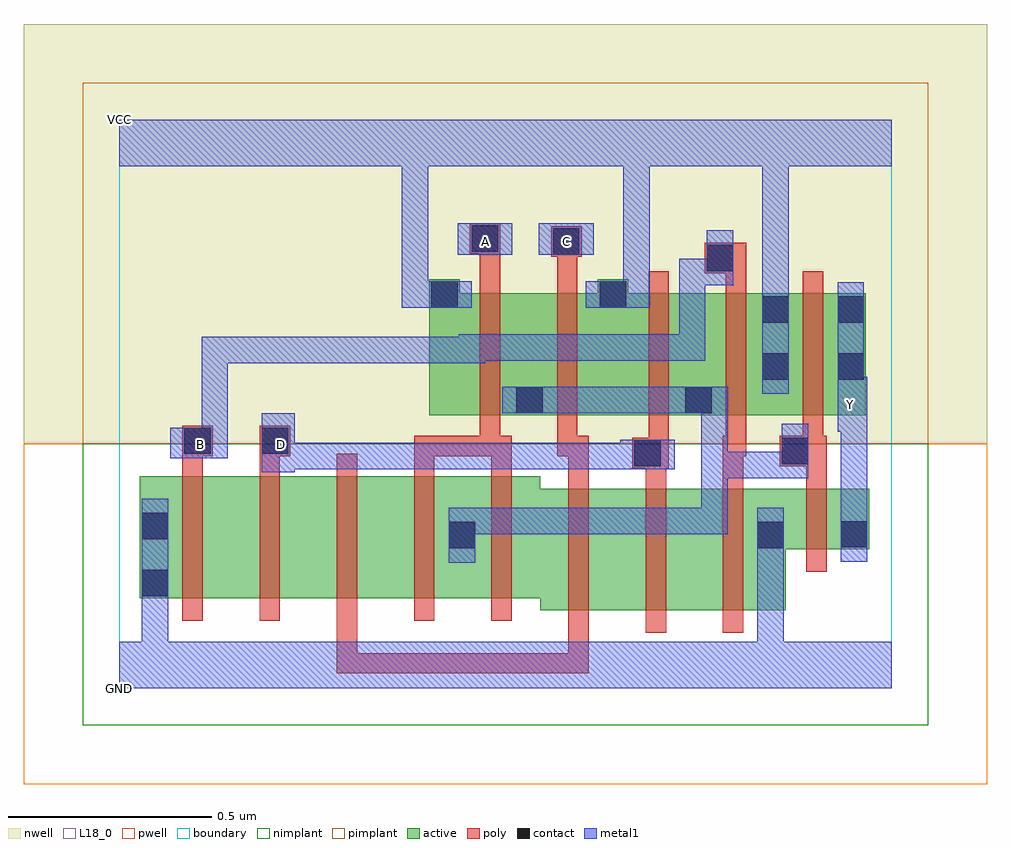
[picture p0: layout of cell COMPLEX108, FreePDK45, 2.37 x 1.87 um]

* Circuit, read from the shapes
.subckt COMPLEX108 A B C D GND VCC Y
M1 n1 B GND VSUBS nfet w=0.3u l=0.05u
M2 n2 D n1 VSUBS nfet w=0.3u l=0.05u
M3 n3 C n2 VSUBS nfet w=0.3u l=0.05u
M4 n4 A n3 VSUBS nfet w=0.3u l=0.05u
M5 n5 A n4 VSUBS nfet w=0.3u l=0.05u
M6 n6 C n5 VSUBS nfet w=0.3u l=0.05u
M7 n7 D n6 VSUBS nfet w=0.3u l=0.05u
M8 GND B n7 VSUBS nfet w=0.3u l=0.05u
M9 Y n4 GND VSUBS nfet w=0.15u l=0.05u
M10 n4 A VCC n8 pfet w=0.3u l=0.05u
M11 VCC C n4 n8 pfet w=0.3u l=0.05u
M12 n4 D VCC n8 pfet w=0.3u l=0.05u
M13 VCC B n4 n8 pfet w=0.3u l=0.05u
M14 Y n4 VCC n8 pfet w=0.3u l=0.05u
.ends

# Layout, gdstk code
import gdstk
lib = gdstk.Library(unit=1e-6, precision=1e-09)
def R(c, l, rs):  # rectangles x0, y0, x1, y1
    for r in rs: c.add(gdstk.rectangle(r[:2], r[2:], *l))
def A(c, l, x, y, w, h, nx, ny, dx, dy):  # array of equal rectangles
    R(c, l, [(x+i*dx, y+j*dy, x+i*dx+w, y+j*dy+h) for i in range(nx) for j in range(ny)])
active = (1, 0)
pwell = (2, 0)
nwell = (3, 0)
nimplant = (4, 0)
pimplant = (5, 0)
poly = (9, 0)
contact = (10, 0)
metal1 = (11, 0)
L18_0 = (18, 0)
boundary = (235, 0)

complex108 = lib.new_cell('COMPLEX108')
R(complex108, active, [(1.035,0.192,1.225,0.492), (1.225,0.192,1.415,0.492), (1.415,0.192,1.64,0.492), (1.565,0.192,1.64,0.492), (0.05,0.222,0.125,0.522), (0.05,0.222,0.275,0.522), (0.275,0.222,0.465,0.522), (0.465,0.222,0.655,0.522), (0.655,0.222,0.88,0.522), (0.805,0.222,1.035,0.522), (0.805,0.247,0.88,0.517), (1.565,0.342,1.845,0.492), (1.77,0.342,1.845,0.492), (0.762,0.672,1.047,0.972), (0.762,0.672,0.837,1.007), (0.972,0.672,1.252,0.972), (0.972,0.672,1.047,0.877), (1.177,0.672,1.462,0.972), (1.387,0.672,1.652,0.972), (1.387,0.672,1.462,0.957), (1.577,0.672,1.837,0.972), (1.762,0.672,1.837,0.972), (1.577,0.755,1.652,0.972), (1.177,0.832,1.252,1.007)])
R(complex108, pwell, [(-0.235,-0.235,2.135,0.602)])
R(complex108, nwell, [(-0.235,0.602,2.135,1.635)])
R(complex108, nimplant, [(-0.09,-0.09,1.99,0.602)])
R(complex108, pimplant, [(-0.09,0.602,1.99,1.49)])
A(complex108, poly, 1.105, 0.137, 0.05, 0.41, 3, 1, 0.19, 0)
A(complex108, poly, 0.155, 0.167, 0.05, 0.41, 5, 1, 0.19, 0)
A(complex108, poly, 1.302, 0.617, 0.05, 0.41, 3, 1, 0.19, 0)
R(complex108, poly, [(0.535,0.037,0.585,0.087), (0.535,0.037,0.585,0.087), (0.535,0.037,0.585,0.087), (0.535,0.037,0.765,0.087), (0.535,0.037,0.585,0.217), (0.715,0.037,0.765,0.087), (0.715,0.037,0.872,0.087), (0.822,0.037,0.872,0.087), (0.822,0.037,0.945,0.087), (0.895,0.037,0.945,0.087), (0.895,0.037,1.155,0.087), (1.105,0.037,1.155,0.187), (1.105,0.037,1.155,0.087), (1.105,0.037,1.155,0.087), (1.105,0.037,1.155,0.087), (1.69,0.287,1.74,0.547), (1.105,0.497,1.155,0.622), (1.295,0.497,1.345,0.592), (1.485,0.497,1.535,0.622), (1.69,0.497,1.74,0.597), (0.155,0.527,0.205,0.622), (0.345,0.527,0.395,0.622), (0.725,0.527,0.775,0.622), (0.915,0.527,0.965,0.622), (1.262,0.542,1.352,0.617), (1.625,0.547,1.74,0.622), (1.302,0.567,1.352,0.667), (0.155,0.572,0.23,0.647), (0.345,0.572,0.42,0.647), (0.725,0.572,0.775,0.622), (0.725,0.572,0.937,0.622), (0.887,0.572,0.937,0.667), (0.887,0.572,0.965,0.622), (0.887,0.572,0.937,0.622), (0.887,0.572,0.937,0.622), (1.077,0.572,1.127,0.667), (1.077,0.572,1.155,0.622), (1.485,0.572,1.542,0.622), (1.492,0.572,1.542,0.667), (1.682,0.572,1.732,0.667), (0.887,0.617,0.937,1.027), (1.077,0.617,1.127,1.027), (0.887,0.977,0.937,1.12), (1.077,0.977,1.127,1.112), (1.492,0.977,1.542,1.072), (1.44,1.022,1.542,1.097), (1.062,1.062,1.137,1.137), (0.862,1.07,0.937,1.145)])
R(complex108, contact, [(0.055,0.227,0.12,0.292), (0.81,0.345,0.875,0.41), (1.57,0.345,1.635,0.41), (1.775,0.347,1.84,0.412), (0.055,0.367,0.12,0.432), (1.267,0.547,1.332,0.612), (1.63,0.552,1.695,0.617), (0.16,0.577,0.225,0.642), (0.35,0.577,0.415,0.642), (0.977,0.677,1.042,0.742), (1.392,0.677,1.457,0.742), (1.582,0.76,1.647,0.825), (1.767,0.76,1.832,0.825), (1.582,0.9,1.647,0.965), (1.767,0.9,1.832,0.965), (0.767,0.937,0.832,1.002), (1.182,0.937,1.247,1.002), (1.445,1.027,1.51,1.092), (1.067,1.067,1.132,1.132), (0.867,1.075,0.932,1.14)])
R(complex108, metal1, [(0,0,1.9,0.115), (0.055,0.05,0.12,0.257), (1.57,0.05,1.635,0.115), (1.57,0.05,1.635,0.115), (1.57,0.05,1.635,0.375), (0.055,0.192,0.12,0.467), (0.055,0.192,0.12,0.257), (0.055,0.192,0.12,0.257), (0.81,0.31,0.875,0.445), (1.57,0.31,1.635,0.445), (1.775,0.312,1.84,0.447), (0.81,0.38,0.875,0.445), (0.81,0.38,0.875,0.445), (0.81,0.38,1.037,0.445), (0.972,0.38,1.037,0.445), (0.972,0.38,1.037,0.445), (0.972,0.38,1.037,0.445), (0.972,0.38,1.215,0.445), (1.15,0.38,1.215,0.445), (1.15,0.38,1.305,0.445), (1.24,0.38,1.305,0.445), (1.24,0.38,1.497,0.445), (1.432,0.38,1.497,0.445), (1.432,0.38,1.497,0.582), (1.775,0.382,1.84,0.697), (1.432,0.517,1.497,0.582), (1.432,0.517,1.505,0.582), (1.432,0.517,1.497,0.742), (1.44,0.517,1.505,0.582), (1.44,0.517,1.695,0.582), (1.63,0.517,1.695,0.652), (1.63,0.517,1.695,0.582), (1.63,0.517,1.695,0.582), (0.35,0.532,0.432,0.677), (0.367,0.54,0.432,0.605), (0.367,0.54,0.432,0.605), (0.367,0.54,0.57,0.605), (0.505,0.54,0.57,0.605), (0.505,0.54,0.57,0.605), (0.505,0.54,0.57,0.605), (0.505,0.54,0.732,0.605), (0.667,0.54,0.732,0.605), (0.667,0.54,0.87,0.605), (0.805,0.54,0.87,0.605), (0.805,0.54,0.87,0.605), (0.805,0.54,0.87,0.605), (0.805,0.54,1.037,0.605), (0.972,0.54,1.037,0.605), (0.972,0.54,1.037,0.605), (0.972,0.54,1.037,0.605), (0.972,0.54,1.215,0.605), (1.15,0.54,1.215,0.605), (1.15,0.54,1.297,0.605), (1.232,0.54,1.367,0.612), (0.125,0.567,0.267,0.642), (0.202,0.577,0.267,0.642), (0.202,0.577,0.267,0.642), (0.202,0.577,0.267,0.865), (1.767,0.632,1.84,0.767), (0.942,0.677,1.077,0.742), (1.012,0.677,1.077,0.742), (1.012,0.677,1.077,0.742), (1.012,0.677,1.285,0.742), (1.22,0.677,1.285,0.742), (1.22,0.677,1.367,0.742), (1.302,0.677,1.367,0.742), (1.302,0.677,1.422,0.742), (1.357,0.677,1.497,0.742), (1.767,0.702,1.832,0.79), (1.582,0.725,1.647,1), (1.767,0.725,1.832,1), (0.202,0.8,0.267,0.865), (0.202,0.8,0.432,0.865), (0.367,0.8,0.432,0.865), (0.367,0.8,0.432,0.865), (0.367,0.8,0.432,0.865), (0.367,0.8,0.57,0.865), (0.505,0.8,0.57,0.865), (0.505,0.8,0.57,0.865), (0.505,0.8,0.57,0.865), (0.505,0.8,0.707,0.865), (0.642,0.8,0.707,0.865), (0.642,0.8,0.707,0.865), (0.642,0.8,0.707,0.865), (0.642,0.8,0.707,0.865), (0.642,0.8,0.707,0.865), (0.642,0.8,0.9,0.865), (0.835,0.8,0.9,0.872), (0.835,0.807,1.075,0.872), (1.01,0.807,1.075,0.872), (1.01,0.807,1.075,0.872), (1.01,0.807,1.075,0.872), (1.01,0.807,1.215,0.872), (1.15,0.807,1.215,0.872), (1.15,0.807,1.367,0.872), (1.302,0.807,1.367,0.872), (1.302,0.807,1.442,0.872), (1.377,0.807,1.442,0.872), (1.377,0.807,1.442,1.057), (1.582,0.935,1.647,1), (1.582,0.935,1.647,1), (1.582,0.935,1.647,1.35), (0.695,0.937,0.76,1.002), (0.695,0.937,0.76,1.002), (0.695,0.937,0.76,1.35), (0.695,0.937,0.867,1.002), (1.147,0.937,1.305,1.002), (1.24,0.937,1.305,1.35), (1.377,0.992,1.442,1.057), (1.377,0.992,1.442,1.057), (1.377,0.992,1.442,1.057), (1.377,0.992,1.51,1.057), (1.445,0.992,1.51,1.127), (0.832,1.067,0.967,1.145), (1.032,1.067,1.167,1.145), (0,1.285,1.9,1.4), (0.695,1.285,0.76,1.35), (0.695,1.285,0.76,1.35), (1.24,1.285,1.305,1.35), (1.24,1.285,1.305,1.35), (1.24,1.285,1.305,1.35), (1.24,1.285,1.305,1.35), (1.582,1.285,1.647,1.35), (1.582,1.285,1.647,1.35)])
R(complex108, L18_0, [(0,0,1.9,0.115), (0.055,0.05,0.12,0.257), (1.57,0.05,1.635,0.115), (1.57,0.05,1.635,0.115), (1.57,0.05,1.635,0.375), (0.055,0.192,0.12,0.257), (0.055,0.192,0.12,0.257), (0.055,0.192,0.12,0.467), (1.57,0.31,1.635,0.445), (1.775,0.312,1.84,0.447), (1.775,0.382,1.84,0.697), (0.35,0.532,0.432,0.677), (0.367,0.54,0.432,0.605), (0.367,0.54,0.432,0.605), (0.367,0.54,0.57,0.605), (0.505,0.54,0.57,0.605), (0.505,0.54,0.57,0.605), (0.505,0.54,0.57,0.605), (0.505,0.54,0.732,0.605), (0.667,0.54,0.732,0.605), (0.667,0.54,0.87,0.605), (0.805,0.54,0.87,0.605), (0.805,0.54,0.87,0.605), (0.805,0.54,0.87,0.605), (0.805,0.54,1.037,0.605), (0.972,0.54,1.037,0.605), (0.972,0.54,1.037,0.605), (0.972,0.54,1.037,0.605), (0.972,0.54,1.215,0.605), (1.15,0.54,1.215,0.605), (1.15,0.54,1.297,0.605), (1.232,0.54,1.367,0.612), (0.125,0.567,0.267,0.642), (0.167,0.567,0.232,0.632), (0.367,0.567,0.432,0.632), (0.202,0.577,0.267,0.642), (0.202,0.577,0.267,0.642), (0.202,0.577,0.267,0.865), (1.767,0.632,1.84,0.767), (1.767,0.667,1.832,0.732), (1.767,0.702,1.832,0.79), (1.582,0.725,1.647,1), (1.767,0.725,1.832,1), (0.202,0.8,0.267,0.865), (0.202,0.8,0.432,0.865), (0.367,0.8,0.432,0.865), (0.367,0.8,0.432,0.865), (0.367,0.8,0.432,0.865), (0.367,0.8,0.57,0.865), (0.505,0.8,0.57,0.865), (0.505,0.8,0.57,0.865), (0.505,0.8,0.57,0.865), (0.505,0.8,0.707,0.865), (0.642,0.8,0.707,0.865), (0.642,0.8,0.707,0.865), (0.642,0.8,0.707,0.865), (0.642,0.8,0.707,0.865), (0.642,0.8,0.707,0.865), (0.642,0.8,0.9,0.865), (0.835,0.8,0.9,0.872), (0.835,0.807,1.075,0.872), (1.01,0.807,1.075,0.872), (1.01,0.807,1.075,0.872), (1.01,0.807,1.075,0.872), (1.01,0.807,1.215,0.872), (1.15,0.807,1.215,0.872), (1.15,0.807,1.367,0.872), (1.302,0.807,1.367,0.872), (1.302,0.807,1.442,0.872), (1.377,0.807,1.442,0.872), (1.377,0.807,1.442,1.057), (1.582,0.935,1.647,1), (1.582,0.935,1.647,1), (1.582,0.935,1.647,1.35), (0.695,0.937,0.76,1.002), (0.695,0.937,0.76,1.002), (0.695,0.937,0.867,1.002), (0.695,0.937,0.76,1.35), (1.147,0.937,1.305,1.002), (1.24,0.937,1.305,1.35), (1.377,0.992,1.442,1.057), (1.377,0.992,1.442,1.057), (1.377,0.992,1.442,1.057), (1.377,0.992,1.51,1.057), (1.445,0.992,1.51,1.127), (0.832,1.067,0.967,1.145), (0.867,1.067,0.932,1.132), (1.032,1.067,1.167,1.145), (1.067,1.067,1.132,1.132), (0,1.285,1.9,1.4), (0.695,1.285,0.76,1.35), (0.695,1.285,0.76,1.35), (1.24,1.285,1.305,1.35), (1.24,1.285,1.305,1.35), (1.24,1.285,1.305,1.35), (1.24,1.285,1.305,1.35), (1.582,1.285,1.647,1.35), (1.582,1.285,1.647,1.35)])
R(complex108, boundary, [(0,0,1.9,1.4)])
complex108.add(gdstk.Label('A', (0.9,1.1), layer=11, texttype=0))
complex108.add(gdstk.Label('B', (0.2,0.6), layer=11, texttype=0))
complex108.add(gdstk.Label('C', (1.1,1.1), layer=11, texttype=0))
complex108.add(gdstk.Label('D', (0.4,0.6), layer=11, texttype=0))
complex108.add(gdstk.Label('Y', (1.8,0.7), layer=11, texttype=0))
complex108.add(gdstk.Label('VCC', (0,1.4), layer=11, texttype=0))
complex108.add(gdstk.Label('GND', (0,0), layer=11, texttype=0))

lib.write_gds('COMPLEX108.gds')
